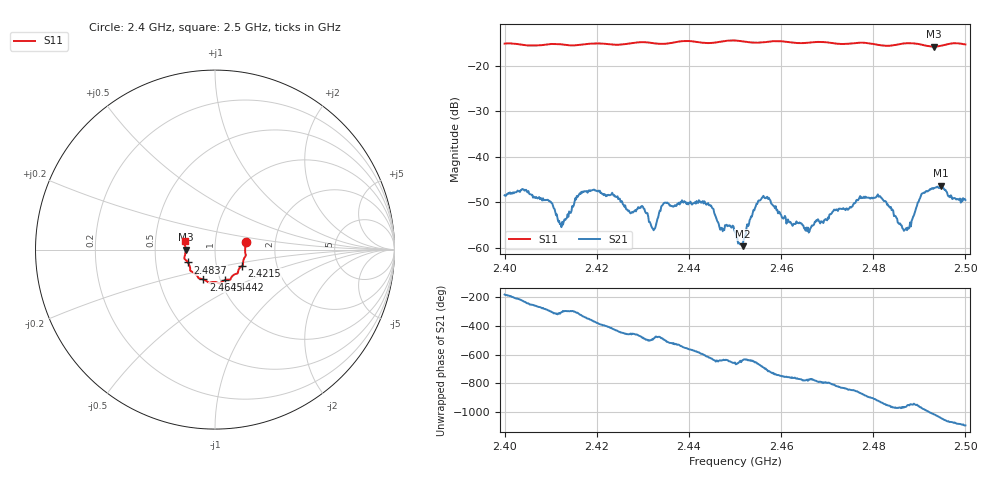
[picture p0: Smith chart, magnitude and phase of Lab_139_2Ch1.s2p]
# Hz S RI R
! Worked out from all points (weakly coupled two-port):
!   601 points, 2.4 GHz to 2.5 GHz, reference 50 ohm
!   highest |S21| = -46.35 dB at 2.4947 GHz (marker M1); lowest = -59.7 dB at 2.4517 GHz (marker M2)
!   lowest |S11| = -15.7 dB at 2.4932 GHz (marker M3), VSWR 1.39, Z = 35.9 - j0.0572 ohm
!   |S11| at or under -10 dB: start of sweep to end of sweep
!   S12 and S22 are empty: the file has one direction only
!   S11 on the Smith chart (normalised r, x): 2.4 GHz: 1.41, +0.12; 2.4215 GHz: 1.33, -0.25; 2.4442 GHz: 1.05, -0.37; 2.4645 GHz: 0.83, -0.29; 2.4837 GHz: 0.73, -0.11; 2.5 GHz: 0.71, +0.07
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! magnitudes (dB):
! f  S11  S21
! 2.4 GHz  -15.1  -48.5
! 2.4095 GHz  -15.2  -49.5
! 2.4123 GHz  -15.2  -55.5
! 2.4167 GHz  -15.3  -47.7
! 2.4215 GHz  -15.1  -48.4
! 2.4298 GHz  -14.8  -50.8
! 2.4322 GHz  -15.0  -55.8
! 2.4333 GHz  -15.1  -53.3
! 2.435 GHz  -15.1  -50.1
! 2.4442 GHz  -15.0  -50.2
! 2.45 GHz  -14.4  -56.5
! 2.4517 GHz  -14.6  -59.7
! 2.4563 GHz  -14.8  -48.9
! 2.4645 GHz  -15.0  -54.7
! 2.4667 GHz  -14.8  -55.1
! 2.4775 GHz  -14.9  -48.9
! 2.4833 GHz  -15.6  -50.9
! 2.4837 GHz  -15.5  -51.2
! 2.4872 GHz  -15.0  -55.7
! 2.4932 GHz  -15.7  -46.9
! 2.4947 GHz  -15.6  -46.3
! 2.5 GHz  -15.3  -49.5
